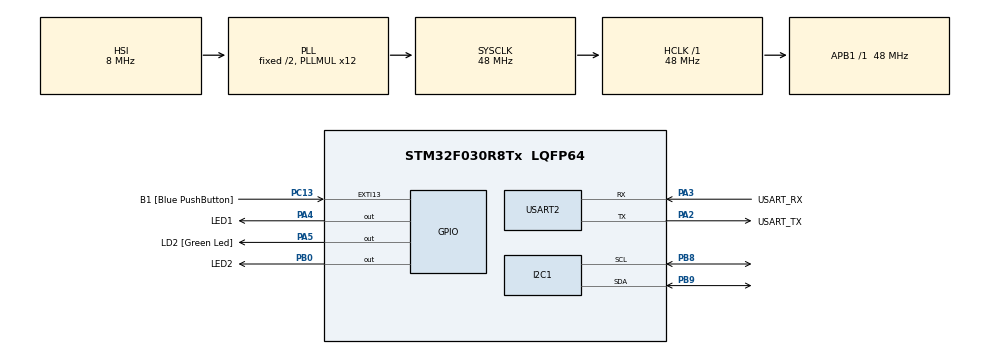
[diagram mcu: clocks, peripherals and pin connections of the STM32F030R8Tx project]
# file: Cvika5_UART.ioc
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Dma.Request0=USART2_RX
Dma.USART2_RX.0.Direction=DMA_PERIPH_TO_MEMORY
Dma.USART2_RX.0.Instance=DMA1_Channel5
Dma.USART2_RX.0.MemDataAlignment=DMA_MDATAALIGN_BYTE
Dma.USART2_RX.0.MemInc=DMA_MINC_ENABLE
Dma.USART2_RX.0.Mode=DMA_CIRCULAR
Dma.USART2_RX.0.PeriphDataAlignment=DMA_PDATAALIGN_BYTE
Dma.USART2_RX.0.PeriphInc=DMA_PINC_DISABLE
Dma.USART2_RX.0.Priority=DMA_PRIORITY_LOW
I2C1.Timing=0x00201D2B
Mcu.Family=STM32F0
Mcu.Name=STM32F030R8Tx
Mcu.Package=LQFP64
NVIC.DMA1_Channel4_5_IRQn=true\:0\:0\:false\:false\:true\:false\:true\:true
PA13.GPIO_Label=TMS
PA13.Mode=Serial_Wire
PA13.Signal=SYS_SWDIO
PA14.GPIO_Label=TCK
PA14.Mode=Serial_Wire
PA14.Signal=SYS_SWCLK
PA2.GPIO_Label=USART_TX
PA2.GPIO_Mode=GPIO_MODE_AF_PP
PA2.GPIO_PuPd=GPIO_NOPULL
PA2.GPIO_Speed=GPIO_SPEED_FREQ_LOW
PA2.Mode=Asynchronous
PA2.Signal=USART2_TX
PA3.GPIO_Label=USART_RX
PA3.GPIO_Mode=GPIO_MODE_AF_PP
PA3.GPIO_PuPd=GPIO_NOPULL
PA3.GPIO_Speed=GPIO_SPEED_FREQ_LOW
PA3.Mode=Asynchronous
PA3.Signal=USART2_RX
PA4.GPIO_Label=LED1
PA4.Signal=GPIO_Output
PA5.GPIO_Label=LD2 [Green Led]
PA5.GPIO_Mode=GPIO_MODE_OUTPUT_PP
PA5.GPIO_PuPd=GPIO_NOPULL
PA5.GPIO_Speed=GPIO_SPEED_FREQ_LOW
PA5.Signal=GPIO_Output
PB0.GPIO_Label=LED2
PB0.Signal=GPIO_Output
PB8.Mode=I2C
PB8.Signal=I2C1_SCL
PB9.Mode=I2C
PB9.Signal=I2C1_SDA
PC13.GPIO_Label=B1 [Blue PushButton]
PC13.GPIO_ModeDefaultEXTI=GPIO_MODE_IT_FALLING
PC13.Signal=GPXTI13
PC14-OSC32_IN.Mode=LSE-External-Oscillator
PC14-OSC32_IN.Signal=RCC_OSC32_IN
PC15-OSC32_OUT.Mode=LSE-External-Oscillator
PC15-OSC32_OUT.Signal=RCC_OSC32_OUT
PF0-OSC_IN.Mode=HSE-External-Clock-Source
PF0-OSC_IN.Signal=RCC_OSC_IN
PF1-OSC_OUT.Signal=RCC_OSC_OUT
ProjectManager.HeapSize=0x200
ProjectManager.StackSize=0x400
ProjectManager.TargetToolchain=STM32CubeIDE
RCC.AHBFreq_Value=48000000
RCC.APB1Freq_Value=48000000
RCC.APB1TimFreq_Value=48000000
RCC.HCLKFreq_Value=48000000
RCC.PLLMUL=RCC_PLL_MUL12
RCC.SYSCLKFreq_VALUE=48000000
RCC.SYSCLKSource=RCC_SYSCLKSOURCE_PLLCLK
USART2.VirtualMode-Asynchronous=VM_ASYNC
board=NUCLEO-F030R8

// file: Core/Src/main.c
/* USER CODE BEGIN Header */
/**
 ******************************************************************************
 * @file           : main.c
 * @brief          : Main program body
 ******************************************************************************
 * @attention
 *
 * Copyright (c) 2024 STMicroelectronics.
 * All rights reserved.
 *
 * This software is licensed under terms that can be found in the LICENSE file
 * in the root directory of this software component.
 * If no LICENSE file comes with this software, it is provided AS-IS.
 *
 ******************************************************************************
 */
/* USER CODE END Header */
#include "main.h"

/* USER CODE BEGIN Includes */
#include <stdint.h>
#include <string.h>
#include <stdio.h>
#include <stdlib.h>
/* USER CODE END Includes */

/* USER CODE BEGIN PD */
#define RX_BUFFER_LEN 64
static uint8_t uart_rx_buf[RX_BUFFER_LEN];
static volatile uint16_t uart_rx_read_ptr = 0;
#define uart_rx_write_ptr (RX_BUFFER_LEN - hdma_usart2_rx.Instance->CNDTR)
#define  CMD_BUFFER_LEN 256
#define EEPROM_ADDR 0xA0
/* USER CODE END PD */

I2C_HandleTypeDef hi2c1;

UART_HandleTypeDef huart2;
DMA_HandleTypeDef hdma_usart2_rx;

void SystemClock_Config(void);
static void MX_GPIO_Init(void);
static void MX_DMA_Init(void);
static void MX_USART2_UART_Init(void);
static void MX_I2C1_Init(void);
/* USER CODE BEGIN PFP */
static void uart_process_command(char *cmd);
/* USER CODE END PFP */

/* USER CODE BEGIN 0 */

static void uart_byte_available(uint8_t c)
{
	static uint16_t cnt;
	static char data[CMD_BUFFER_LEN];

	if (cnt < CMD_BUFFER_LEN && c >= 32 && c <= 126) data[cnt++] = c;
	if ((c == '\n' || c == '\r') && cnt > 0)
	{
		data[cnt] = '\0';
		uart_process_command(data);
		cnt = 0;
	}
}

void uart_process_command(char *cmd)
{
	printf("received: '%s'\n",cmd);

	char *token;
	token = strtok(cmd, " ");

	if(strcasecmp(token, "HELLO") == 0)
	{
		printf("Communication OK\n");
	}
	else if (strcasecmp(token,"LED1") == 0)
	{
		token = strtok(NULL, " ");
		if (strcasecmp(token, "ON") == 0)
		{
			HAL_GPIO_WritePin(LED1_GPIO_Port, LED1_Pin, 1);
		}
		else if (strcasecmp(token, "OFF") == 0)
		{
			HAL_GPIO_WritePin(LED1_GPIO_Port, LED1_Pin, 0);
		}
		else
		{
			printf("Invalid command\n");
		}

	}
	else if (strcasecmp(token, "LED2") == 0)
	{
		token = strtok(NULL, " ");
		if (strcasecmp(token, "ON") == 0)
		{
			HAL_GPIO_WritePin(LED2_GPIO_Port, LED2_Pin, 1);
		}
		else if (strcasecmp(token, "OFF") == 0)
		{
			HAL_GPIO_WritePin(LED2_GPIO_Port, LED2_Pin, 0);
		}
		else
		{
			printf("Invalid command\n");
		}
	}
	else if (strcasecmp(token, "STATUS") == 0)
	{
		const char* led1_status;
		const char* led2_status;

		if(HAL_GPIO_ReadPin(LED1_GPIO_Port, LED1_Pin) == 1)
		{
			led1_status = "ON";
		}
		else
		{
			led1_status = "OFF";
		}

		if(HAL_GPIO_ReadPin(LED2_GPIO_Port, LED2_Pin) == 1)
		{
			led2_status = "ON";
		}
		else
		{
			led2_status = "OFF";
		}

		printf("LED1 STATE: %s\n", led1_status);
		printf("LED2 STATE: %s\n", led2_status);
	}
	else if (strcasecmp(token, "READ") == 0)
	{
		token = strtok(NULL, " ");
		uint16_t addr = atoi(token);
		uint8_t value = 0;

		HAL_StatusTypeDef statusI2C = HAL_I2C_Mem_Read(&hi2c1, EEPROM_ADDR, addr, I2C_MEMADD_SIZE_16BIT, &value, 1, 1000);

		if (statusI2C == HAL_OK)
		{
			printf("Address 0x%04X = 0x%02X\n", addr, value);
		}
		else
		{
			printf("Failed to read\n");
		}

	}
	else if (strcasecmp(token, "WRITE") == 0)
	{
		token = strtok(NULL, " ");
		uint16_t addr = atoi(token);

		token = strtok(NULL, " ");
		uint8_t value = atoi(token);

		HAL_StatusTypeDef statusI2C = HAL_I2C_Mem_Write(&hi2c1, EEPROM_ADDR, addr, I2C_MEMADD_SIZE_16BIT, &value, 1, 1000);

		if (statusI2C == HAL_OK)
		{
			printf("OK\n");
		}
		else
		{
			printf("Failed to write\n");
		}
	}
	else if (strcasecmp(token, "DUMP") == 0)
	{
		uint16_t addr = 0;
		uint8_t dump[16];
		HAL_StatusTypeDef statusI2C = HAL_I2C_Mem_Read(&hi2c1, EEPROM_ADDR, addr, I2C_MEMADD_SIZE_16BIT, dump, 16, 1000);

		if(statusI2C == HAL_OK)
		{
			printf("EEPROM Contains: \n");
			for (uint8_t i = 0; i < 16; i++)
			{
				printf("0x%02X ", dump[i]);
				if (i % 8 == 7)
				{
					printf("\n");
				}
			}
		}
		else
		{
			printf("Failed to dump\n");
		}

	}

}

int _write(int file, char const *buf, int n)
{	//stdout redirection to UART2
	HAL_UART_Transmit(&huart2, (uint8_t*)(buf), n, HAL_MAX_DELAY);
	return n;
}

/* USER CODE END 0 */

int main(void)
{

	/* MCU Configuration--------------------------------------------------------*/

	/* Reset of all peripherals, Initializes the Flash interface and the Systick. */
	HAL_Init();

	/* Configure the system clock */
	SystemClock_Config();

	/* Initialize all configured peripherals */
	MX_GPIO_Init();
	MX_DMA_Init();
	MX_USART2_UART_Init();
	MX_I2C1_Init();
	/* USER CODE BEGIN 2 */
	HAL_UART_Receive_DMA(&huart2, uart_rx_buf, RX_BUFFER_LEN);

	/* USER CODE END 2 */

	/* Infinite loop */
	/* USER CODE BEGIN WHILE */
	while (1)
	{
		//uint8_t c;
		//HAL_UART_Receive(&huart2, &c, 1, HAL_MAX_DELAY);
		//HAL_UART_Transmit(&huart2, &c, 1, HAL_MAX_DELAY);

		while (uart_rx_read_ptr != uart_rx_write_ptr)
		{
			uint8_t b = uart_rx_buf[uart_rx_read_ptr];

			//increases read pointer
			if (++uart_rx_read_ptr >= RX_BUFFER_LEN) uart_rx_read_ptr = 0;

			//process every received byte with the RX state machine
			uart_byte_available(b);
		}

		/* Check if the EEPROM is ready for a new operation */
		while (HAL_I2C_IsDeviceReady(&hi2c1, EEPROM_ADDR, 300, 1000) == HAL_TIMEOUT)
		{

		}

		/* USER CODE END WHILE */

	}
}

void SystemClock_Config(void)
{
	RCC_OscInitTypeDef RCC_OscInitStruct = {0};
	RCC_ClkInitTypeDef RCC_ClkInitStruct = {0};
	RCC_PeriphCLKInitTypeDef PeriphClkInit = {0};

	/** Initializes the RCC Oscillators according to the specified parameters
	 * in the RCC_OscInitTypeDef structure.
	 */
	RCC_OscInitStruct.OscillatorType = RCC_OSCILLATORTYPE_HSI;
	RCC_OscInitStruct.HSIState = RCC_HSI_ON;
	RCC_OscInitStruct.HSICalibrationValue = RCC_HSICALIBRATION_DEFAULT;
	RCC_OscInitStruct.PLL.PLLState = RCC_PLL_ON;
	RCC_OscInitStruct.PLL.PLLSource = RCC_PLLSOURCE_HSI;
	RCC_OscInitStruct.PLL.PLLMUL = RCC_PLL_MUL12;
	RCC_OscInitStruct.PLL.PREDIV = RCC_PREDIV_DIV1;
	if (HAL_RCC_OscConfig(&RCC_OscInitStruct) != HAL_OK)
	{
		Error_Handler();
	}

	/** Initializes the CPU, AHB and APB buses clocks
	 */
	RCC_ClkInitStruct.ClockType = RCC_CLOCKTYPE_HCLK|RCC_CLOCKTYPE_SYSCLK
			|RCC_CLOCKTYPE_PCLK1;
	RCC_ClkInitStruct.SYSCLKSource = RCC_SYSCLKSOURCE_PLLCLK;
	RCC_ClkInitStruct.AHBCLKDivider = RCC_SYSCLK_DIV1;
	RCC_ClkInitStruct.APB1CLKDivider = RCC_HCLK_DIV1;

	if (HAL_RCC_ClockConfig(&RCC_ClkInitStruct, FLASH_LATENCY_1) != HAL_OK)
	{
		Error_Handler();
	}
	PeriphClkInit.PeriphClockSelection = RCC_PERIPHCLK_I2C1;
	PeriphClkInit.I2c1ClockSelection = RCC_I2C1CLKSOURCE_HSI;
	if (HAL_RCCEx_PeriphCLKConfig(&PeriphClkInit) != HAL_OK)
	{
		Error_Handler();
	}
}

static void MX_I2C1_Init(void)
{

	hi2c1.Instance = I2C1;
	hi2c1.Init.Timing = 0x00201D2B;
	hi2c1.Init.OwnAddress1 = 0;
	hi2c1.Init.AddressingMode = I2C_ADDRESSINGMODE_7BIT;
	hi2c1.Init.DualAddressMode = I2C_DUALADDRESS_DISABLE;
	hi2c1.Init.OwnAddress2 = 0;
	hi2c1.Init.OwnAddress2Masks = I2C_OA2_NOMASK;
	hi2c1.Init.GeneralCallMode = I2C_GENERALCALL_DISABLE;
	hi2c1.Init.NoStretchMode = I2C_NOSTRETCH_DISABLE;
	if (HAL_I2C_Init(&hi2c1) != HAL_OK)
	{
		Error_Handler();
	}

	/** Configure Analogue filter
	 */
	if (HAL_I2CEx_ConfigAnalogFilter(&hi2c1, I2C_ANALOGFILTER_ENABLE) != HAL_OK)
	{
		Error_Handler();
	}

	/** Configure Digital filter
	 */
	if (HAL_I2CEx_ConfigDigitalFilter(&hi2c1, 0) != HAL_OK)
	{
		Error_Handler();
	}

}

static void MX_USART2_UART_Init(void)
{

	huart2.Instance = USART2;
	huart2.Init.BaudRate = 38400;
	huart2.Init.WordLength = UART_WORDLENGTH_8B;
	huart2.Init.StopBits = UART_STOPBITS_1;
	huart2.Init.Parity = UART_PARITY_NONE;
	huart2.Init.Mode = UART_MODE_TX_RX;
	huart2.Init.HwFlowCtl = UART_HWCONTROL_NONE;
	huart2.Init.OverSampling = UART_OVERSAMPLING_16;
	huart2.Init.OneBitSampling = UART_ONE_BIT_SAMPLE_DISABLE;
	huart2.AdvancedInit.AdvFeatureInit = UART_ADVFEATURE_NO_INIT;
	if (HAL_UART_Init(&huart2) != HAL_OK)
	{
		Error_Handler();
	}

}

static void MX_DMA_Init(void)
{

	/* DMA controller clock enable */
	__HAL_RCC_DMA1_CLK_ENABLE();

	/* DMA interrupt init */
	/* DMA1_Channel4_5_IRQn interrupt configuration */
	HAL_NVIC_SetPriority(DMA1_Channel4_5_IRQn, 0, 0);
	HAL_NVIC_EnableIRQ(DMA1_Channel4_5_IRQn);

}

static void MX_GPIO_Init(void)
{
	GPIO_InitTypeDef GPIO_InitStruct = {0};

	/* GPIO Ports Clock Enable */
	__HAL_RCC_GPIOC_CLK_ENABLE();
	__HAL_RCC_GPIOF_CLK_ENABLE();
	__HAL_RCC_GPIOA_CLK_ENABLE();
	__HAL_RCC_GPIOB_CLK_ENABLE();

	/*Configure GPIO pin Output Level */
	HAL_GPIO_WritePin(GPIOA, LED1_Pin|LD2_Pin, GPIO_PIN_RESET);

	/*Configure GPIO pin Output Level */
	HAL_GPIO_WritePin(LED2_GPIO_Port, LED2_Pin, GPIO_PIN_RESET);

	/*Configure GPIO pin : B1_Pin */
	GPIO_InitStruct.Pin = B1_Pin;
	GPIO_InitStruct.Mode = GPIO_MODE_IT_FALLING;
	GPIO_InitStruct.Pull = GPIO_NOPULL;
	HAL_GPIO_Init(B1_GPIO_Port, &GPIO_InitStruct);

	/*Configure GPIO pins : LED1_Pin LD2_Pin */
	GPIO_InitStruct.Pin = LED1_Pin|LD2_Pin;
	GPIO_InitStruct.Mode = GPIO_MODE_OUTPUT_PP;
	GPIO_InitStruct.Pull = GPIO_NOPULL;
	GPIO_InitStruct.Speed = GPIO_SPEED_FREQ_LOW;
	HAL_GPIO_Init(GPIOA, &GPIO_InitStruct);

	/*Configure GPIO pin : LED2_Pin */
	GPIO_InitStruct.Pin = LED2_Pin;
	GPIO_InitStruct.Mode = GPIO_MODE_OUTPUT_PP;
	GPIO_InitStruct.Pull = GPIO_NOPULL;
	GPIO_InitStruct.Speed = GPIO_SPEED_FREQ_LOW;
	HAL_GPIO_Init(LED2_GPIO_Port, &GPIO_InitStruct);

}

void Error_Handler(void)
{
	__disable_irq();
	while (1)
	{
	}
}
